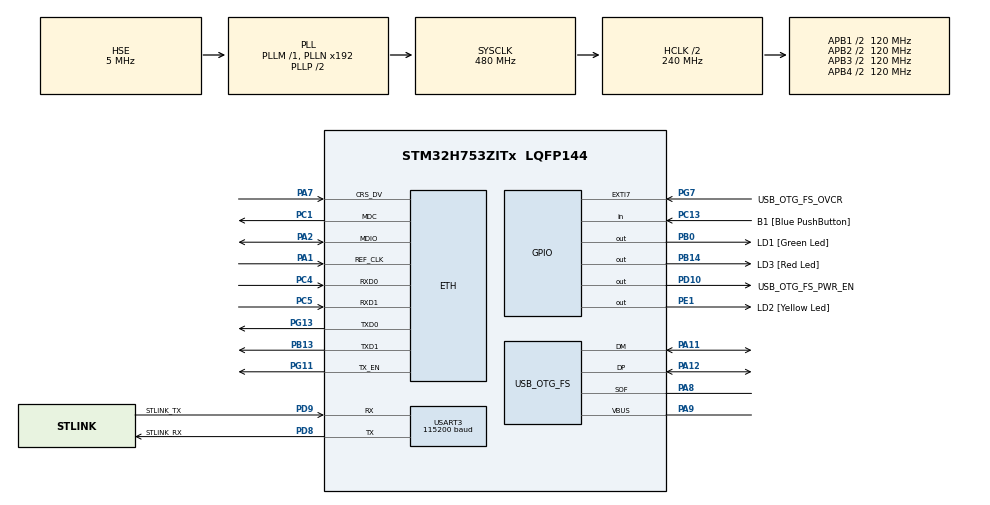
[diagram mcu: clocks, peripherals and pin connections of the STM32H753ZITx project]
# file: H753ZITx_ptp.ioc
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CORTEX_M7.AccessPermission-Cortex_Memory_Protection_Unit_Region1_Settings=MPU_REGION_FULL_ACCESS
CORTEX_M7.AccessPermission_S-Cortex_Memory_Protection_Unit_Region1_Settings_S=MPU_REGION_FULL_ACCESS
CORTEX_M7.AccessPermission_S-Cortex_Memory_Protection_Unit_Region2_Settings_S=MPU_REGION_FULL_ACCESS
CORTEX_M7.BaseAddress-Cortex_Memory_Protection_Unit_Region1_Settings=0x3002000
CORTEX_M7.BaseAddress_S-Cortex_Memory_Protection_Unit_Region1_Settings_S=0x30020000
CORTEX_M7.BaseAddress_S-Cortex_Memory_Protection_Unit_Region2_Settings_S=0x30040000
CORTEX_M7.CPU_DCache=Enabled
CORTEX_M7.CPU_ICache=Enabled
CORTEX_M7.DisableExec-Cortex_Memory_Protection_Unit_Region0_Settings=MPU_INSTRUCTION_ACCESS_DISABLE
CORTEX_M7.DisableExec-Cortex_Memory_Protection_Unit_Region1_Settings=MPU_INSTRUCTION_ACCESS_DISABLE
CORTEX_M7.DisableExec_S-Cortex_Memory_Protection_Unit_Region1_Settings_S=MPU_INSTRUCTION_ACCESS_DISABLE
CORTEX_M7.DisableExec_S-Cortex_Memory_Protection_Unit_Region2_Settings_S=MPU_INSTRUCTION_ACCESS_DISABLE
CORTEX_M7.Enable-Cortex_Memory_Protection_Unit_Region0_Settings=MPU_REGION_ENABLE
CORTEX_M7.Enable-Cortex_Memory_Protection_Unit_Region1_Settings=MPU_REGION_ENABLE
CORTEX_M7.Enable_S-Cortex_Memory_Protection_Unit_Region1_Settings_S=MPU_REGION_ENABLE
CORTEX_M7.Enable_S-Cortex_Memory_Protection_Unit_Region2_Settings_S=MPU_REGION_ENABLE
CORTEX_M7.IsBufferable_S-Cortex_Memory_Protection_Unit_Region2_Settings_S=MPU_ACCESS_BUFFERABLE
CORTEX_M7.IsShareable-Cortex_Memory_Protection_Unit_Region0_Settings=MPU_ACCESS_SHAREABLE
CORTEX_M7.IsShareable_S-Cortex_Memory_Protection_Unit_Region2_Settings_S=MPU_ACCESS_SHAREABLE
CORTEX_M7.MPU_Control=MPU_PRIVILEGED_DEFAULT
CORTEX_M7.Size-Cortex_Memory_Protection_Unit_Region0_Settings=MPU_REGION_SIZE_4GB
CORTEX_M7.Size-Cortex_Memory_Protection_Unit_Region1_Settings=MPU_REGION_SIZE_128B
CORTEX_M7.Size_S-Cortex_Memory_Protection_Unit_Region1_Settings_S=MPU_REGION_SIZE_128KB
CORTEX_M7.Size_S-Cortex_Memory_Protection_Unit_Region2_Settings_S=MPU_REGION_SIZE_512B
CORTEX_M7.SubRegionDisable-Cortex_Memory_Protection_Unit_Region0_Settings=0x87
CORTEX_M7.TypeExtField-Cortex_Memory_Protection_Unit_Region1_Settings=MPU_TEX_LEVEL1
CORTEX_M7.TypeExtField_S-Cortex_Memory_Protection_Unit_Region1_Settings_S=MPU_TEX_LEVEL1
CORTEX_M7.default_mode_Activation=1
ETH.ETH_RX_DESC_CNT=4
ETH.ETH_TX_DESC_CNT=4
ETH.MACAddr=00\:80\:E1\:00\:00\:00
ETH.MediaInterface=HAL_ETH_RMII_MODE
ETH.RxBuffAddress=0x30040200
ETH.RxBuffLen=1536
ETH.RxDescAddress=0x30040000
ETH.TxDescAddress=0x30040200
FREERTOS.Tasks01=defaultTask,24,512,StartDefaultTask,Default,NULL,Dynamic,NULL,NULL
FREERTOS.configMINIMAL_STACK_SIZE=512
FREERTOS.configTOTAL_HEAP_SIZE=16384
FREERTOS.configUSE_NEWLIB_REENTRANT=1
FREERTOS.configUSE_TIMERS=1
LWIP.BSP.number=1
LWIP.DEFAULT_THREAD_STACKSIZE=2048
LWIP.GATEWAY_ADDRESS=192.168.001.001
LWIP.IP_ADDRESS=192.168.001.010
LWIP.LWIP_DHCP=0
LWIP.LWIP_IGMP=1
LWIP.LWIP_MULTICAST_TX_OPTIONS=1
LWIP.LWIP_RAM_HEAP_POINTER=0x30020000
LWIP.LWIP_UDP=1
LWIP.MEM_SIZE=131048
LWIP.NETMASK_ADDRESS=255.255.255.000
LWIP.TCPIP_THREAD_STACKSIZE=2048
LWIP.Version=v2.1.2_Cube
LWIP0.BSP.STBoard=false
LWIP0.BSP.api=BSP_COMPONENT_DRIVER
LWIP0.BSP.component=LAN8742
LWIP0.BSP.instance=LAN8742
LWIP0.BSP.name=Driver_PHY
LWIP0.BSP.semaphore=S_LAN8742
LWIP0.BSP.solution=LAN8742
Mcu.Family=STM32H7
Mcu.Name=STM32H753ZITx
Mcu.Package=LQFP144
NVIC.ETH_IRQn=true\:5\:0\:false\:false\:true\:true\:true\:true\:true
NVIC.PriorityGroup=NVIC_PRIORITYGROUP_4
NVIC.TIM6_DAC_IRQn=true\:15\:0\:false\:false\:true\:false\:false\:true\:true
NVIC.TimeBase=TIM6_DAC_IRQn
NVIC.TimeBaseIP=TIM6
PA1.GPIO_Speed=GPIO_SPEED_FREQ_VERY_HIGH
PA1.Mode=RMII
PA1.Signal=ETH_REF_CLK
PA11.Mode=Device_Only
PA11.Signal=USB_OTG_FS_DM
PA12.Mode=Device_Only
PA12.Signal=USB_OTG_FS_DP
PA13\ (JTMS/SWDIO).Mode=Trace_Asynchronous_SW
PA13\ (JTMS/SWDIO).Signal=DEBUG_JTMS-SWDIO
PA14\ (JTCK/SWCLK).Mode=Trace_Asynchronous_SW
PA14\ (JTCK/SWCLK).Signal=DEBUG_JTCK-SWCLK
PA2.GPIO_Speed=GPIO_SPEED_FREQ_VERY_HIGH
PA2.Mode=RMII
PA2.Signal=ETH_MDIO
PA7.GPIO_Speed=GPIO_SPEED_FREQ_VERY_HIGH
PA7.Mode=RMII
PA7.Signal=ETH_CRS_DV
PA8.Mode=Activate_SOF_FS
PA8.Signal=USB_OTG_FS_SOF
PA9.Mode=Activate_VBUS
PA9.Signal=USB_OTG_FS_VBUS
PB0.GPIO_Label=LD1 [Green Led]
PB0.Signal=GPIO_Output
PB13.GPIO_Speed=GPIO_SPEED_FREQ_VERY_HIGH
PB13.Mode=RMII
PB13.Signal=ETH_TXD1
PB14.GPIO_Label=LD3 [Red Led]
PB14.Signal=GPIO_Output
PB3\ (JTDO/TRACESWO).Mode=Trace_Asynchronous_SW
PB3\ (JTDO/TRACESWO).Signal=DEBUG_JTDO-SWO
PC1.GPIO_Speed=GPIO_SPEED_FREQ_VERY_HIGH
PC1.Mode=RMII
PC1.Signal=ETH_MDC
PC13.GPIO_Label=B1 [Blue PushButton]
PC13.Signal=GPIO_Input
PC14-OSC32_IN\ (OSC32_IN).Mode=LSE-External-Oscillator
PC14-OSC32_IN\ (OSC32_IN).Signal=RCC_OSC32_IN
PC15-OSC32_OUT\ (OSC32_OUT).Mode=LSE-External-Oscillator
PC15-OSC32_OUT\ (OSC32_OUT).Signal=RCC_OSC32_OUT
PC4.GPIO_Speed=GPIO_SPEED_FREQ_VERY_HIGH
PC4.Mode=RMII
PC4.Signal=ETH_RXD0
PC5.GPIO_Speed=GPIO_SPEED_FREQ_VERY_HIGH
PC5.Mode=RMII
PC5.Signal=ETH_RXD1
PD10.GPIO_Label=USB_OTG_FS_PWR_EN
PD10.Signal=GPIO_Output
PD8.GPIO_Label=STLINK_RX
PD8.Mode=Asynchronous
PD8.Signal=USART3_TX
PD9.GPIO_Label=STLINK_TX
PD9.Mode=Asynchronous
PD9.Signal=USART3_RX
PE1.GPIO_Label=LD2 [Yellow Led]
PE1.Signal=GPIO_Output
PG11.GPIO_Speed=GPIO_SPEED_FREQ_VERY_HIGH
PG11.Mode=RMII
PG11.Signal=ETH_TX_EN
PG13.GPIO_Speed=GPIO_SPEED_FREQ_VERY_HIGH
PG13.Mode=RMII
PG13.Signal=ETH_TXD0
PG7.GPIO_Label=USB_OTG_FS_OVCR
PG7.Signal=GPXTI7
PH0-OSC_IN\ (PH0).Mode=HSE-External-Clock-Source
PH0-OSC_IN\ (PH0).Signal=RCC_OSC_IN
PH1-OSC_OUT\ (PH1).Signal=RCC_OSC_OUT
ProjectManager.HeapSize=0x200
ProjectManager.StackSize=0x400
ProjectManager.TargetToolchain=CMake
RCC.ADCFreq_Value=10078125
RCC.APB1Freq_Value=120000000
RCC.APB2Freq_Value=120000000
RCC.APB3Freq_Value=120000000
RCC.APB4Freq_Value=120000000
RCC.CortexFreq_Value=480000000
RCC.D1PPRE=RCC_APB3_DIV2
RCC.D2PPRE1=RCC_APB1_DIV2
RCC.D2PPRE2=RCC_APB2_DIV2
RCC.D3PPRE=RCC_APB4_DIV2
RCC.DIVM1=1
RCC.DIVN1=192
RCC.DIVQ1=15
RCC.HCLKFreq_Value=240000000
RCC.HPRE=RCC_HCLK_DIV2
RCC.HSE_VALUE=5000000
RCC.PLL2FRACN=0
RCC.PLL3FRACN=0
RCC.PLLFRACN=0
RCC.PWR_Regulator_Voltage_Scale=PWR_REGULATOR_VOLTAGE_SCALE0
RCC.SYSCLKFreq_VALUE=480000000
RCC.SYSCLKSource=RCC_SYSCLKSOURCE_PLLCLK
RCC.SupplySource=PWR_LDO_SUPPLY
RCC.USBFreq_Value=64000000
USART3.AutoBaudRateEnableParam=UART_ADVFEATURE_AUTOBAUDRATE_DISABLE
USART3.BaudRate=115200
USART3.ClockPrescaler=PRESCALER_DIV1
USART3.DMADisableonRxErrorParam=ADVFEATURE_DMA_ENABLEONRXERROR
USART3.DataInvertParam=ADVFEATURE_DATAINV_DISABLE
USART3.FIFOMode=FIFOMODE_DISABLE
USART3.MSBFirstParam=ADVFEATURE_MSBFIRST_DISABLE
USART3.Mode=MODE_TX_RX
USART3.OneBitSampling=UART_ONE_BIT_SAMPLE_DISABLE
USART3.OverSampling=UART_OVERSAMPLING_16
USART3.OverrunDisableParam=ADVFEATURE_OVERRUN_ENABLE
USART3.Parity=PARITY_NONE
USART3.RXFIFOThreshold=RXFIFO_THRESHOLD_1EIGHTHFULL
USART3.RxPinLevelInvertParam=ADVFEATURE_RXINV_DISABLE
USART3.StopBits=STOPBITS_1
USART3.SwapParam=ADVFEATURE_SWAP_DISABLE
USART3.TXFIFOThreshold=TXFIFO_THRESHOLD_1EIGHTHFULL
USART3.TxPinLevelInvertParam=ADVFEATURE_TXINV_DISABLE
USART3.VirtualMode-Asynchronous=VM_ASYNC
USART3.WordLength=WORDLENGTH_8B
USB_OTG_FS.Sof_enable=ENABLE
USB_OTG_FS.VirtualMode=Device_Only
USB_OTG_FS.battery_charging_enable=ENABLE
USB_OTG_FS.low_power_enable=DISABLE
USB_OTG_FS.lpm_enable=DISABLE
USB_OTG_FS.use_dedicated_ep1=DISABLE
USB_OTG_FS.vbus_sensing_enable=ENABLE
VP_FREERTOS_VS_CMSIS_V2.Mode=CMSIS_V2
VP_LWIP_VS_Enabled.Mode=Enabled
VP_MEMORYMAP_VS_MEMORYMAP.Mode=CurAppReg
VP_SYS_VS_tim6.Mode=TIM6
board=NUCLEO-H753ZI

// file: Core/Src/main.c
/* USER CODE BEGIN Header */
/**
  ******************************************************************************
  * @file           : main.c
  * @brief          : Main program body
  ******************************************************************************
  * @attention
  *
  * Copyright (c) 2024 STMicroelectronics.
  * All rights reserved.
  *
  * This software is licensed under terms that can be found in the LICENSE file
  * in the root directory of this software component.
  * If no LICENSE file comes with this software, it is provided AS-IS.
  *
  ******************************************************************************
  */
/* USER CODE END Header */
#include "main.h"
#include "cmsis_os.h"
#include "lwip.h"

/* USER CODE BEGIN Includes */
#include "ptpd.h"
#include "stdio.h"
/* USER CODE END Includes */

UART_HandleTypeDef huart3;

PCD_HandleTypeDef hpcd_USB_OTG_FS;

/* Definitions for defaultTask */
osThreadId_t defaultTaskHandle;
const osThreadAttr_t defaultTask_attributes = {
  .name = "defaultTask",
  .stack_size = 512 * 4,
  .priority = (osPriority_t) osPriorityNormal,
};

void SystemClock_Config(void);
static void MPU_Config(void);
static void MX_GPIO_Init(void);
static void MX_USART3_UART_Init(void);
static void MX_USB_OTG_FS_PCD_Init(void);
void StartDefaultTask(void *argument);

/* USER CODE BEGIN 0 */
int __io_putchar(int ch){
  HAL_UART_Transmit(&huart3, (uint8_t *)&ch, 1, 0xFFFF);
  return ch;
}
/* USER CODE END 0 */

int main(void)
{

  /* MPU Configuration--------------------------------------------------------*/
  MPU_Config();

  /* Enable the CPU Cache */

  /* Enable I-Cache---------------------------------------------------------*/
  SCB_EnableICache();

  /* Enable D-Cache---------------------------------------------------------*/
  SCB_EnableDCache();

  /* MCU Configuration--------------------------------------------------------*/

  /* Reset of all peripherals, Initializes the Flash interface and the Systick. */
  HAL_Init();

  /* Configure the system clock */
  SystemClock_Config();

  /* Initialize all configured peripherals */
  MX_GPIO_Init();
  MX_USART3_UART_Init();
  MX_USB_OTG_FS_PCD_Init();

  /* Init scheduler */
  osKernelInitialize();

  /* Create the thread(s) */
  /* creation of defaultTask */
  defaultTaskHandle = osThreadNew(StartDefaultTask, NULL, &defaultTask_attributes);

  /* Start scheduler */
  osKernelStart();

  /* We should never get here as control is now taken by the scheduler */

  /* Infinite loop */
  while (1)
  {

  }
}

void SystemClock_Config(void)
{
  RCC_OscInitTypeDef RCC_OscInitStruct = {0};
  RCC_ClkInitTypeDef RCC_ClkInitStruct = {0};

  /** Supply configuration update enable
  */
  HAL_PWREx_ConfigSupply(PWR_LDO_SUPPLY);

  /** Configure the main internal regulator output voltage
  */
  __HAL_PWR_VOLTAGESCALING_CONFIG(PWR_REGULATOR_VOLTAGE_SCALE1);

  while(!__HAL_PWR_GET_FLAG(PWR_FLAG_VOSRDY)) {}

  __HAL_RCC_SYSCFG_CLK_ENABLE();
  __HAL_PWR_VOLTAGESCALING_CONFIG(PWR_REGULATOR_VOLTAGE_SCALE0);

  while(!__HAL_PWR_GET_FLAG(PWR_FLAG_VOSRDY)) {}

  /** Initializes the RCC Oscillators according to the specified parameters
  * in the RCC_OscInitTypeDef structure.
  */
  RCC_OscInitStruct.OscillatorType = RCC_OSCILLATORTYPE_HSE;
  RCC_OscInitStruct.HSEState = RCC_HSE_BYPASS;
  RCC_OscInitStruct.PLL.PLLState = RCC_PLL_ON;
  RCC_OscInitStruct.PLL.PLLSource = RCC_PLLSOURCE_HSE;
  RCC_OscInitStruct.PLL.PLLM = 1;
  RCC_OscInitStruct.PLL.PLLN = 192;
  RCC_OscInitStruct.PLL.PLLP = 2;
  RCC_OscInitStruct.PLL.PLLQ = 15;
  RCC_OscInitStruct.PLL.PLLR = 2;
  RCC_OscInitStruct.PLL.PLLRGE = RCC_PLL1VCIRANGE_2;
  RCC_OscInitStruct.PLL.PLLVCOSEL = RCC_PLL1VCOWIDE;
  RCC_OscInitStruct.PLL.PLLFRACN = 0;
  if (HAL_RCC_OscConfig(&RCC_OscInitStruct) != HAL_OK)
  {
    Error_Handler();
  }

  /** Initializes the CPU, AHB and APB buses clocks
  */
  RCC_ClkInitStruct.ClockType = RCC_CLOCKTYPE_HCLK|RCC_CLOCKTYPE_SYSCLK
                              |RCC_CLOCKTYPE_PCLK1|RCC_CLOCKTYPE_PCLK2
                              |RCC_CLOCKTYPE_D3PCLK1|RCC_CLOCKTYPE_D1PCLK1;
  RCC_ClkInitStruct.SYSCLKSource = RCC_SYSCLKSOURCE_PLLCLK;
  RCC_ClkInitStruct.SYSCLKDivider = RCC_SYSCLK_DIV1;
  RCC_ClkInitStruct.AHBCLKDivider = RCC_HCLK_DIV2;
  RCC_ClkInitStruct.APB3CLKDivider = RCC_APB3_DIV2;
  RCC_ClkInitStruct.APB1CLKDivider = RCC_APB1_DIV2;
  RCC_ClkInitStruct.APB2CLKDivider = RCC_APB2_DIV2;
  RCC_ClkInitStruct.APB4CLKDivider = RCC_APB4_DIV2;

  if (HAL_RCC_ClockConfig(&RCC_ClkInitStruct, FLASH_LATENCY_4) != HAL_OK)
  {
    Error_Handler();
  }
}

static void MX_USART3_UART_Init(void)
{

  huart3.Instance = USART3;
  huart3.Init.BaudRate = 115200;
  huart3.Init.WordLength = UART_WORDLENGTH_8B;
  huart3.Init.StopBits = UART_STOPBITS_1;
  huart3.Init.Parity = UART_PARITY_NONE;
  huart3.Init.Mode = UART_MODE_TX_RX;
  huart3.Init.HwFlowCtl = UART_HWCONTROL_NONE;
  huart3.Init.OverSampling = UART_OVERSAMPLING_16;
  huart3.Init.OneBitSampling = UART_ONE_BIT_SAMPLE_DISABLE;
  huart3.Init.ClockPrescaler = UART_PRESCALER_DIV1;
  huart3.AdvancedInit.AdvFeatureInit = UART_ADVFEATURE_NO_INIT;
  if (HAL_UART_Init(&huart3) != HAL_OK)
  {
    Error_Handler();
  }
  if (HAL_UARTEx_SetTxFifoThreshold(&huart3, UART_TXFIFO_THRESHOLD_1_8) != HAL_OK)
  {
    Error_Handler();
  }
  if (HAL_UARTEx_SetRxFifoThreshold(&huart3, UART_RXFIFO_THRESHOLD_1_8) != HAL_OK)
  {
    Error_Handler();
  }
  if (HAL_UARTEx_DisableFifoMode(&huart3) != HAL_OK)
  {
    Error_Handler();
  }

}

static void MX_USB_OTG_FS_PCD_Init(void)
{

  hpcd_USB_OTG_FS.Instance = USB_OTG_FS;
  hpcd_USB_OTG_FS.Init.dev_endpoints = 9;
  hpcd_USB_OTG_FS.Init.speed = PCD_SPEED_FULL;
  hpcd_USB_OTG_FS.Init.dma_enable = DISABLE;
  hpcd_USB_OTG_FS.Init.phy_itface = PCD_PHY_EMBEDDED;
  hpcd_USB_OTG_FS.Init.Sof_enable = ENABLE;
  hpcd_USB_OTG_FS.Init.low_power_enable = DISABLE;
  hpcd_USB_OTG_FS.Init.lpm_enable = DISABLE;
  hpcd_USB_OTG_FS.Init.battery_charging_enable = ENABLE;
  hpcd_USB_OTG_FS.Init.vbus_sensing_enable = ENABLE;
  hpcd_USB_OTG_FS.Init.use_dedicated_ep1 = DISABLE;
  if (HAL_PCD_Init(&hpcd_USB_OTG_FS) != HAL_OK)
  {
    Error_Handler();
  }

}

static void MX_GPIO_Init(void)
{
  GPIO_InitTypeDef GPIO_InitStruct = {0};

  /* GPIO Ports Clock Enable */
  __HAL_RCC_GPIOC_CLK_ENABLE();
  __HAL_RCC_GPIOH_CLK_ENABLE();
  __HAL_RCC_GPIOA_CLK_ENABLE();
  __HAL_RCC_GPIOB_CLK_ENABLE();
  __HAL_RCC_GPIOD_CLK_ENABLE();
  __HAL_RCC_GPIOG_CLK_ENABLE();
  __HAL_RCC_GPIOE_CLK_ENABLE();

  /*Configure GPIO pin Output Level */
  HAL_GPIO_WritePin(GPIOB, LD1_Pin|LD3_Pin, GPIO_PIN_RESET);

  /*Configure GPIO pin Output Level */
  HAL_GPIO_WritePin(USB_OTG_FS_PWR_EN_GPIO_Port, USB_OTG_FS_PWR_EN_Pin, GPIO_PIN_RESET);

  /*Configure GPIO pin Output Level */
  HAL_GPIO_WritePin(LD2_GPIO_Port, LD2_Pin, GPIO_PIN_RESET);

  /*Configure GPIO pin : B1_Pin */
  GPIO_InitStruct.Pin = B1_Pin;
  GPIO_InitStruct.Mode = GPIO_MODE_INPUT;
  GPIO_InitStruct.Pull = GPIO_NOPULL;
  HAL_GPIO_Init(B1_GPIO_Port, &GPIO_InitStruct);

  /*Configure GPIO pins : LD1_Pin LD3_Pin */
  GPIO_InitStruct.Pin = LD1_Pin|LD3_Pin;
  GPIO_InitStruct.Mode = GPIO_MODE_OUTPUT_PP;
  GPIO_InitStruct.Pull = GPIO_NOPULL;
  GPIO_InitStruct.Speed = GPIO_SPEED_FREQ_LOW;
  HAL_GPIO_Init(GPIOB, &GPIO_InitStruct);

  /*Configure GPIO pin : USB_OTG_FS_PWR_EN_Pin */
  GPIO_InitStruct.Pin = USB_OTG_FS_PWR_EN_Pin;
  GPIO_InitStruct.Mode = GPIO_MODE_OUTPUT_PP;
  GPIO_InitStruct.Pull = GPIO_NOPULL;
  GPIO_InitStruct.Speed = GPIO_SPEED_FREQ_LOW;
  HAL_GPIO_Init(USB_OTG_FS_PWR_EN_GPIO_Port, &GPIO_InitStruct);

  /*Configure GPIO pin : USB_OTG_FS_OVCR_Pin */
  GPIO_InitStruct.Pin = USB_OTG_FS_OVCR_Pin;
  GPIO_InitStruct.Mode = GPIO_MODE_IT_RISING;
  GPIO_InitStruct.Pull = GPIO_NOPULL;
  HAL_GPIO_Init(USB_OTG_FS_OVCR_GPIO_Port, &GPIO_InitStruct);

  /*Configure GPIO pin : LD2_Pin */
  GPIO_InitStruct.Pin = LD2_Pin;
  GPIO_InitStruct.Mode = GPIO_MODE_OUTPUT_PP;
  GPIO_InitStruct.Pull = GPIO_NOPULL;
  GPIO_InitStruct.Speed = GPIO_SPEED_FREQ_LOW;
  HAL_GPIO_Init(LD2_GPIO_Port, &GPIO_InitStruct);

}

/* USER CODE BEGIN 4 */
extern ETH_HandleTypeDef heth;
/* USER CODE END 4 */

void StartDefaultTask(void *argument)
{
  /* init code for LWIP */
  MX_LWIP_Init();
  /* USER CODE BEGIN 5 */
  printf("Starting PTP.....\n");
  ptpd_init();
  osDelay(1000);
  heth.IsPtpConfigured = HAL_ETH_PTP_CONFIGURED;
  /* Infinite loop */
  TickType_t xLastWakeTime;
  const TickType_t xFrequency = pdMS_TO_TICKS(1); // 周期1ms
  xLastWakeTime = xTaskGetTickCount();
  int led_cnt = 0;
  for(;;)
  {
    ++led_cnt;
    if (led_cnt > 500){
      HAL_GPIO_TogglePin(GPIOB, LD1_Pin);
      led_cnt = 0;
    }
    ptpd_task();
	  updatePTPTimers();
    vTaskDelayUntil(&xLastWakeTime, xFrequency);
  }
  /* USER CODE END 5 */
}

 /* MPU Configuration */

void MPU_Config(void)
{
  MPU_Region_InitTypeDef MPU_InitStruct = {0};

  /* Disables the MPU */
  HAL_MPU_Disable();

  /** Initializes and configures the Region and the memory to be protected
  */
  MPU_InitStruct.Enable = MPU_REGION_ENABLE;
  MPU_InitStruct.Number = MPU_REGION_NUMBER0;
  MPU_InitStruct.BaseAddress = 0x0;
  MPU_InitStruct.Size = MPU_REGION_SIZE_4GB;
  MPU_InitStruct.SubRegionDisable = 0x87;
  MPU_InitStruct.TypeExtField = MPU_TEX_LEVEL0;
  MPU_InitStruct.AccessPermission = MPU_REGION_NO_ACCESS;
  MPU_InitStruct.DisableExec = MPU_INSTRUCTION_ACCESS_DISABLE;
  MPU_InitStruct.IsShareable = MPU_ACCESS_SHAREABLE;
  MPU_InitStruct.IsCacheable = MPU_ACCESS_NOT_CACHEABLE;
  MPU_InitStruct.IsBufferable = MPU_ACCESS_NOT_BUFFERABLE;

  HAL_MPU_ConfigRegion(&MPU_InitStruct);

  /** Initializes and configures the Region and the memory to be protected
  */
  MPU_InitStruct.Number = MPU_REGION_NUMBER1;
  MPU_InitStruct.BaseAddress = 0x30020000;
  MPU_InitStruct.Size = MPU_REGION_SIZE_128KB;
  MPU_InitStruct.SubRegionDisable = 0x0;
  MPU_InitStruct.TypeExtField = MPU_TEX_LEVEL1;
  MPU_InitStruct.AccessPermission = MPU_REGION_FULL_ACCESS;
  MPU_InitStruct.IsShareable = MPU_ACCESS_NOT_SHAREABLE;

  HAL_MPU_ConfigRegion(&MPU_InitStruct);

  /** Initializes and configures the Region and the memory to be protected
  */
  MPU_InitStruct.Number = MPU_REGION_NUMBER2;
  MPU_InitStruct.BaseAddress = 0x30040000;
  MPU_InitStruct.Size = MPU_REGION_SIZE_512B;
  MPU_InitStruct.TypeExtField = MPU_TEX_LEVEL0;
  MPU_InitStruct.IsShareable = MPU_ACCESS_SHAREABLE;
  MPU_InitStruct.IsBufferable = MPU_ACCESS_BUFFERABLE;

  HAL_MPU_ConfigRegion(&MPU_InitStruct);
  /* Enables the MPU */
  HAL_MPU_Enable(MPU_PRIVILEGED_DEFAULT);

}

void HAL_TIM_PeriodElapsedCallback(TIM_HandleTypeDef *htim)
{
  if (htim->Instance == TIM6) {
    HAL_IncTick();
  }
}

void Error_Handler(void)
{
  __disable_irq();
  while (1)
  {
  }
}
